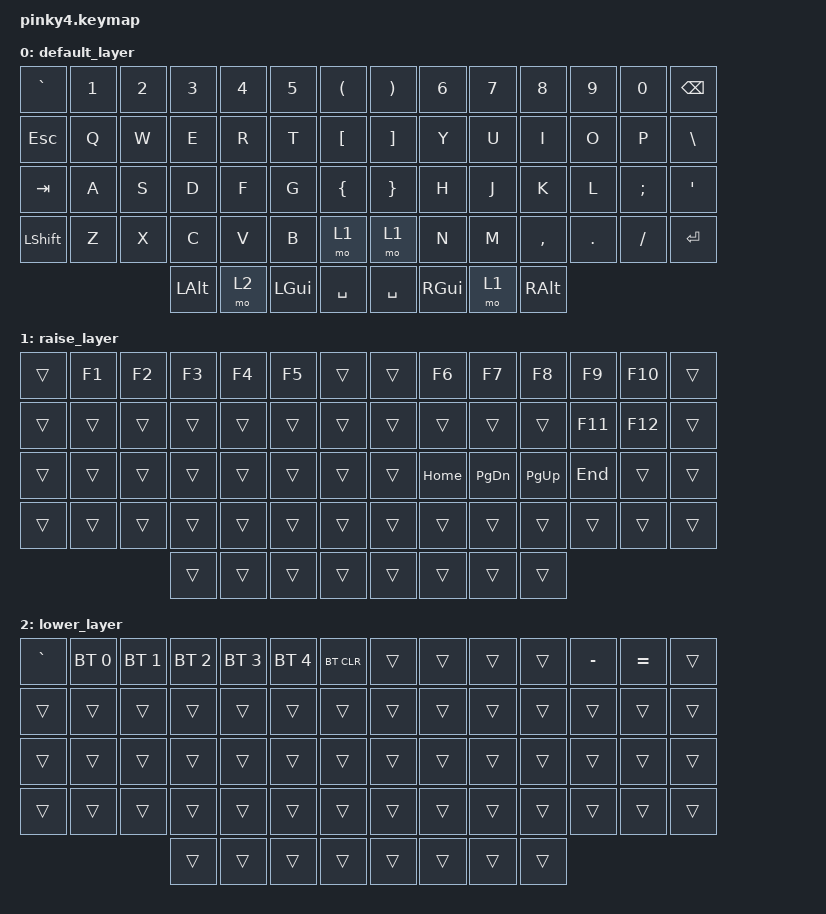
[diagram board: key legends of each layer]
/*
 * Copyright (c) 2020 The ZMK Contributors
 *
 * SPDX-License-Identifier: MIT
 */

#include <behaviors.dtsi>
#include <dt-bindings/zmk/keys.h>
#include <dt-bindings/zmk/bt.h>

/ {
    keymap {
        compatible = "zmk,keymap";

        default_layer {
// ----------------------------------------------------------------------------------------------------
// |  ESC  |  1  |  2  |  3   |  4   |  5   |  (   |   |  )   |  6  |  7   |  8  |  9  |   0  | BKSPC |
// |  TAB  |  Q  |  W  |  E   |  R   |  T   |  [   |   |  ]   |  Y  |  U   |  I  |  O  |   P  |   \   |
// |  CTRL |  A  |  S  |  D   |  F   |  G   |  {   |   |  }   |  H  |  J   |  K  |  L  |   ;  |   '   |
// | SHIFT |  Z  |  X  |  C   |  V   |  B   |  ADJ |   |  ADJ |  N  |  M   |  ,  |  .  |   /  | ENTER |
//                     | ALT  | LOWER| GUI  | SPACE|   | SPACE| GUI | RAISE| ALT |
            bindings = <
&kp GRAVE &kp N1 &kp N2   &kp N3   &kp N4  &kp N5   &kp LPAR   &kp RPAR  &kp N6 &kp N7 &kp N8    &kp N9   &kp N0   &kp BSPC
&kp ESC   &kp Q  &kp W    &kp E    &kp R   &kp T    &kp LBKT   &kp RBKT  &kp Y  &kp U  &kp I     &kp O    &kp P    &kp BSLH
&kp TAB   &kp A  &kp S    &kp D    &kp F   &kp G    &kp LBRC   &kp RBRC  &kp H  &kp J  &kp K     &kp L    &kp SEMI &kp SQT
&kp LSHFT &kp Z  &kp X    &kp C    &kp V   &kp B    &mo 1      &mo 1     &kp N  &kp M  &kp COMMA &kp DOT  &kp FSLH &kp ENTER
                          &kp LALT &mo 2   &kp LGUI &kp SPACE  &kp SPACE &kp RGUI &mo 1 &kp RALT
            >;
        };

// ADJ layer is temporary RAISE
        raise_layer {
// ---------------------------------------------------------------------------------------------------
// |     |  F1 |  F2 |  F3  |  F4  |  F5  |     |   |     |  F6  |  F7   |  F8  |  F9  |  F10 |      |
// |     |     |     |      |      |      |     |   |     |      |       |      |  F11 |  F12 |      |
// |     |     |     |      |      |      |     |   |     | HOME | PGDN  | PGUP | END  |      |      |
// |     |     |     |      |      |      |     |   |     |      |       |      |      |      |      |
//                   |      |      |      |     |   |     |      |       |      |
            bindings = <
&trans    &kp F1    &kp F2    &kp F3   &kp F4    &kp F5    &trans     &trans &kp F6    &kp F7   &kp F8     &kp F9    &kp F10 &trans
&trans    &trans    &trans    &trans   &trans    &trans    &trans     &trans &trans    &trans   &trans     &kp F11   &kp F12 &trans
&trans    &trans    &trans    &trans   &trans    &trans    &trans     &trans &kp HOME  &kp PG_DN &kp PG_UP &kp END   &trans  &trans
&trans    &trans    &trans    &trans   &trans    &trans    &trans     &trans &trans    &trans   &trans     &trans    &trans  &trans
                              &trans   &trans    &trans    &trans     &trans &trans    &trans   &trans
            >;
        };

        lower_layer {
// ------------------------------------------------------------------------------------------------------------
// |GRAVE| BT1  | BT2  |  BT3  |  BT4  |  BT5 | BTCLR|   |      |      |       |      | MINUS | EQUAL |       |
// |     |      |      |       |       |      |      |   |      |      |       |      |       |       |       |
// |     |      |      |       |       |      |      |   |      |      |       |      |       |       |       |
// |     |      |      |       |       |      |      |   |      |      |       |      |       |       |       |
//              |      |       |       |      |      |   |      |      |       |      |
            bindings = <
&kp GRAVE &bt BT_SEL 0 &bt BT_SEL 1 &bt BT_SEL 2 &bt BT_SEL 3 &bt BT_SEL 4 &bt BT_CLR    &trans   &trans   &trans   &trans &kp MINUS &kp EQUAL &trans
&trans   &trans       &trans       &trans       &trans       &trans       &trans         &trans   &trans   &trans   &trans   &trans  &trans    &trans
&trans   &trans       &trans       &trans       &trans       &trans       &trans         &trans   &trans   &trans   &trans   &trans  &trans    &trans
&trans   &trans       &trans       &trans       &trans       &trans       &trans         &trans   &trans   &trans   &trans   &trans  &trans    &trans
                                   &trans       &trans       &trans       &trans         &trans   &trans   &trans   &trans
            >;
        };
    };
};
